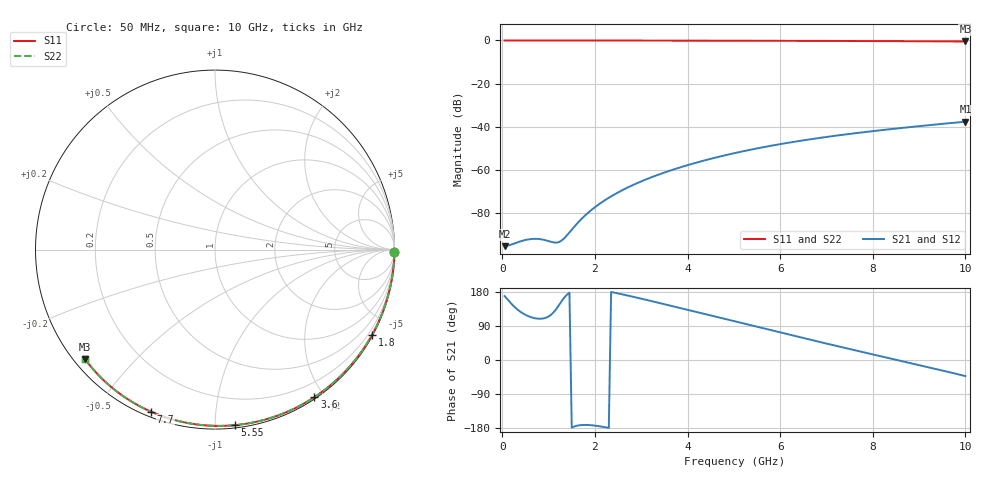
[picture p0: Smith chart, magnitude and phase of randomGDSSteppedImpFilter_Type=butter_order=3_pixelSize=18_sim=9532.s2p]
! freq	dB(S11)	phase(S11)	dB(S12)	phase(S12)
!  dB(S21)	phase(S21)	dB(S22)	phase(S22)
!S-par simulation data
#  GHz  S  DB  R 50
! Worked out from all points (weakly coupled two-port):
!   200 points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, 50 MHz to 10 GHz, reference 50 ohm
!   highest |S21| = -37.66 dB at 10 GHz (marker M1); lowest = -95.3 dB at 50 MHz (marker M2)
!   lowest |S11| = -0.5 dB at 10 GHz (marker M3), VSWR 36.76, Z = 1.54 - j18.3 ohm
!   |S11| at or under -10 dB: nowhere
!   |S22| runs from -0.5 to 0.0 dB; largest |S21 - S12| = 0
!   S11 on the Smith chart (normalised r, x): 50 MHz: open; 1.8 GHz: 0.03, -3.91; 3.6 GHz: 0.02, -1.88; 5.55 GHz: 0.02, -1.12; 7.7 GHz: 0.02, -0.68; 10 GHz: 0.03, -0.37
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0.05  -0.00 -0.8  -95.31 168.7  -95.31 168.7  -0.00 -0.8
0.45  -0.01 -7.3  -92.72 122.6  -92.72 122.6  -0.01 -7.3
0.9  -0.02 -14.5  -92.39 110.0  -92.39 110.0  -0.02 -14.5
1.75  -0.04 -27.9  -81.85 -171.4  -81.85 -171.4  -0.04 -27.9
1.8  -0.04 -28.7  -80.84 -171.3  -80.84 -171.3  -0.04 -28.7
1.85  -0.04 -29.5  -79.89 -171.5  -79.89 -171.5  -0.04 -29.5
2  -0.04 -31.8  -77.27 -173.2  -77.27 -173.2  -0.04 -31.8
2.15  -0.04 -34.1  -74.95 -175.9  -74.95 -175.9  -0.04 -34.1
2.35  -0.05 -37.2  -72.22 179.5  -72.22 179.5  -0.05 -37.2
2.55  -0.05 -40.3  -69.83 174.4  -69.83 174.4  -0.05 -40.3
2.95  -0.06 -46.3  -65.75 163.3  -65.75 163.3  -0.06 -46.4
3.4  -0.07 -53.1  -61.96 150.2  -61.96 150.2  -0.07 -53.1
3.6  -0.08 -56.0  -60.47 144.3  -60.47 144.3  -0.08 -56.0
4.3  -0.09 -66.1  -55.96 123.5  -55.96 123.5  -0.09 -66.2
5.05  -0.12 -76.7  -52.03 101.1  -52.03 101.1  -0.12 -76.7
5.55  -0.14 -83.5  -49.81 86.2  -49.81 86.2  -0.14 -83.6
6.1  -0.16 -90.9  -47.66 69.8  -47.66 69.8  -0.16 -90.9
6.7  -0.19 -98.8  -45.63 52.1  -45.63 52.1  -0.19 -98.8
7.7  -0.25 -111.5  -42.77 23.3  -42.77 23.3  -0.25 -111.5
8.35  -0.31 -119.6  -41.17 5.0  -41.17 5.0  -0.31 -119.6
9.2  -0.38 -130.0  -39.27 -18.9  -39.27 -18.9  -0.38 -130.1
10  -0.47 -139.8  -37.66 -42.5  -37.66 -42.5  -0.47 -139.9
